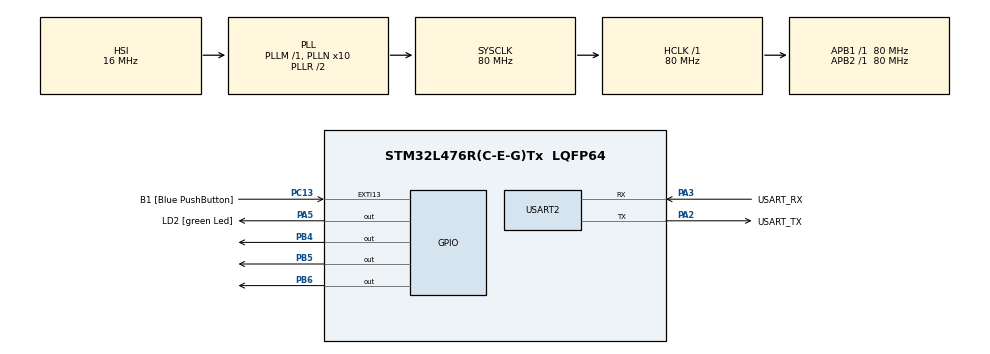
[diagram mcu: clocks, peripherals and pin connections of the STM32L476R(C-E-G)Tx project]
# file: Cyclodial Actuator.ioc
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Mcu.Family=STM32L4
Mcu.Name=STM32L476R(C-E-G)Tx
Mcu.Package=LQFP64
NVIC.PriorityGroup=NVIC_PRIORITYGROUP_4
PA13\ (JTMS-SWDIO).GPIO_Label=TMS
PA13\ (JTMS-SWDIO).Mode=Serial_Wire
PA13\ (JTMS-SWDIO).Signal=SYS_JTMS-SWDIO
PA14\ (JTCK-SWCLK).GPIO_Label=TCK
PA14\ (JTCK-SWCLK).Mode=Serial_Wire
PA14\ (JTCK-SWCLK).Signal=SYS_JTCK-SWCLK
PA2.GPIO_Label=USART_TX
PA2.GPIO_Mode=GPIO_MODE_AF_PP
PA2.GPIO_PuPd=GPIO_NOPULL
PA2.GPIO_Speed=GPIO_SPEED_FREQ_VERY_HIGH
PA2.Mode=Asynchronous
PA2.Signal=USART2_TX
PA3.GPIO_Label=USART_RX
PA3.GPIO_Mode=GPIO_MODE_AF_PP
PA3.GPIO_PuPd=GPIO_NOPULL
PA3.GPIO_Speed=GPIO_SPEED_FREQ_VERY_HIGH
PA3.Mode=Asynchronous
PA3.Signal=USART2_RX
PA5.GPIO_Label=LD2 [green Led]
PA5.GPIO_ModeDefaultOutputPP=GPIO_MODE_OUTPUT_PP
PA5.GPIO_PuPd=GPIO_NOPULL
PA5.GPIO_Speed=GPIO_SPEED_FREQ_LOW
PA5.Signal=GPIO_Output
PB3\ (JTDO-TRACESWO).GPIO_Label=SWO
PB3\ (JTDO-TRACESWO).Signal=SYS_JTDO-SWO
PB4\ (NJTRST).Signal=GPIO_Output
PB5.Signal=GPIO_Output
PB6.Signal=GPIO_Output
PC13.GPIO_Label=B1 [Blue PushButton]
PC13.GPIO_ModeDefaultEXTI=GPIO_MODE_IT_FALLING
PC13.GPIO_PuPd=GPIO_NOPULL
PC13.Signal=GPXTI13
PC14-OSC32_IN\ (PC14).Mode=LSE-External-Oscillator
PC14-OSC32_IN\ (PC14).Signal=RCC_OSC32_IN
PC15-OSC32_OUT\ (PC15).Mode=LSE-External-Oscillator
PC15-OSC32_OUT\ (PC15).Signal=RCC_OSC32_OUT
PH0-OSC_IN\ (PH0).Signal=RCC_OSC_IN
PH1-OSC_OUT\ (PH1).Signal=RCC_OSC_OUT
ProjectManager.HeapSize=0x200
ProjectManager.StackSize=0x400
ProjectManager.TargetToolchain=STM32CubeIDE
RCC.ADCFreq_Value=64000000
RCC.AHBFreq_Value=80000000
RCC.APB1Freq_Value=80000000
RCC.APB1TimFreq_Value=80000000
RCC.APB2Freq_Value=80000000
RCC.APB2TimFreq_Value=80000000
RCC.CortexFreq_Value=80000000
RCC.HCLKFreq_Value=80000000
RCC.HSE_VALUE=8000000
RCC.HSI_VALUE=16000000
RCC.MSI_VALUE=4000000
RCC.PLLN=10
RCC.PLLSourceVirtual=RCC_PLLSOURCE_HSI
RCC.PREFETCH_ENABLE=1
RCC.SYSCLKFreq_VALUE=80000000
RCC.SYSCLKSource=RCC_SYSCLKSOURCE_PLLCLK
RCC.USBFreq_Value=64000000
RCC.VCOOutputFreq_Value=160000000
USART2.VirtualMode-Asynchronous=VM_ASYNC
board=NUCLEO-L476RG

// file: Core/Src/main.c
/* USER CODE BEGIN Header */
/**
  ******************************************************************************
  * @file           : main.c
  * @brief          : Main program body
  ******************************************************************************
  * @attention
  *
  * Copyright (c) 2026 STMicroelectronics.
  * All rights reserved.
  *
  * This software is licensed under terms that can be found in the LICENSE file
  * in the root directory of this software component.
  * If no LICENSE file comes with this software, it is provided AS-IS.
  *
  ******************************************************************************
  */
/* USER CODE END Header */
#include "main.h"

/* USER CODE BEGIN Includes */
#include <string.h>
#include <stdio.h>
#include <stdlib.h>
#include <errno.h>

/* USER CODE END Includes */

/* USER CODE BEGIN PTD */
typedef enum { MOTOR_RELEASED, MOTOR_HOLD, MOTOR_JOG, MOTOR_LOAD } MotorMode;

/* USER CODE END PTD */

/* USER CODE BEGIN PD */
#define STEP_PULSE_WIDTH_US 10U
#define ENABLE_DIR_SETTLE_US 10000U
#define MAX_STEP_RATE_HZ 2000U
#define MAX_LOAD_RATE_HZ 50U
#define ACCEL_RATE_HZ_PER_S 1000U
#define START_RATE_HZ 25U
#define DEFAULT_TRAVEL_LIMIT 2000L
#define HARD_TRAVEL_LIMIT 20000L
#define MAX_OPERATION_MS 30000U
#define MOTION_LEASE_MS 750U
#define BUTTON_DEBOUNCE_MS 40U
#define STATUS_PERIOD_MS 100U
#define RX_LINE_SIZE 96U
#define TX_FRAME_SIZE 320U

/* USER CODE END PD */

UART_HandleTypeDef huart2;

/* USER CODE BEGIN PV */
static MotorMode motorMode = MOTOR_RELEASED;
static int32_t commandedPosition = 0;
static int32_t displayOrigin = 0;
static int32_t travelLimit = DEFAULT_TRAVEL_LIMIT;
static int8_t motionDirection = 1;
static uint32_t targetRateHz = 0U, currentRateHz = 0U;
static uint32_t operationRemaining = 0U;
static uint32_t operationStartedMs = 0U, operationDurationMs = 0U;
static uint32_t lastKeepMs = 0U, motionId = 0U, lastCommandId = 0U;
static uint32_t nextStepCycle = 0U, pulseStartedCycle = 0U;
static uint32_t lastRampMs = 0U, rampFraction = 0U;
static uint8_t stepPulseHigh = 0U;
static const char *stopReason = "BOOT";
static uint32_t buttonChangedMs = 0U;
static GPIO_PinState lastButtonReading = GPIO_PIN_SET;
static GPIO_PinState stableButtonState = GPIO_PIN_SET;
static char rxLine[RX_LINE_SIZE], txFrame[TX_FRAME_SIZE];
static uint16_t rxLength = 0U, txLength = 0U, txOffset = 0U;
static uint8_t rxDiscard = 0U, helloPending = 0U, statusPending = 1U;
static uint32_t lastStatusMs = 0U;

/* USER CODE END PV */

void SystemClock_Config(void);
static void MX_GPIO_Init(void);
static void MX_USART2_UART_Init(void);
/* USER CODE BEGIN PFP */
static void DWT_Delay_Init(void);
static uint8_t Motor_IsMoving(void);
static void Motor_Stop(const char *reason);
static void Motor_Release(void);
static void Motor_Update(void);
static void Button_Update(void);
static void Serial_Command(char *line);
static void Serial_ReceiveByte(uint8_t byte);
static void Serial_Update(void);

/* USER CODE END PFP */

/* USER CODE BEGIN 0 */
static void DWT_Delay_Init(void)
{
  CoreDebug->DEMCR |= CoreDebug_DEMCR_TRCENA_Msk;
  DWT->CYCCNT = 0U;
  DWT->CTRL |= DWT_CTRL_CYCCNTENA_Msk;
}

static uint8_t Motor_IsMoving(void)
{
  return motorMode == MOTOR_JOG || motorMode == MOTOR_LOAD;
}

static void Motor_Stop(const char *reason)
{
  /* Finish a pulse already high; no new rising edges after this call. */
  motorMode = MOTOR_HOLD;
  motionId = 0U;
  targetRateHz = currentRateHz = 0U;
  HAL_GPIO_WritePin(TB6600_ENA_GPIO_Port, TB6600_ENA_Pin, GPIO_PIN_RESET);
  HAL_GPIO_WritePin(LD2_GPIO_Port, LD2_Pin, GPIO_PIN_SET);
  stopReason = reason;
  statusPending = 1U;
}

static void Motor_Release(void)
{
  HAL_GPIO_WritePin(TB6600_PUL_GPIO_Port, TB6600_PUL_Pin, GPIO_PIN_RESET);
  HAL_GPIO_WritePin(TB6600_ENA_GPIO_Port, TB6600_ENA_Pin, GPIO_PIN_SET);
  HAL_GPIO_WritePin(LD2_GPIO_Port, LD2_Pin, GPIO_PIN_RESET);
  stepPulseHigh = 0U;
  motorMode = MOTOR_RELEASED;
  motionId = 0U;
  targetRateHz = currentRateHz = 0U;
  stopReason = "RELEASED";
  statusPending = 1U;
  /* No changes to travel tally or display reference. */
}

static void Motor_Start(uint32_t id, int32_t direction, uint32_t rate,
                        uint32_t pulses, uint32_t duration, MotorMode mode)
{
  if (id <= lastCommandId)
  {
    stopReason = "STALE_ID"; statusPending = 1U; return;
  }
  /* Consume a valid fresh ID even when rejecting: never queue a late start. */
  lastCommandId = id;
  if (Motor_IsMoving() || stepPulseHigh || stableButtonState == GPIO_PIN_RESET)
  {
    stopReason = "BUSY_OR_BUTTON"; statusPending = 1U; return;
  }
  if ((direction > 0 && commandedPosition >= travelLimit) ||
      (direction < 0 && commandedPosition <= -travelLimit))
  {
    stopReason = "TRAVEL_LIMIT"; statusPending = 1U; return;
  }
  motionDirection = (int8_t)direction;
  targetRateHz = rate;
  currentRateHz = rate < START_RATE_HZ ? rate : START_RATE_HZ;
  operationRemaining = pulses;
  operationStartedMs = lastKeepMs = lastRampMs = HAL_GetTick();
  operationDurationMs = duration;
  rampFraction = 0U;
  motionId = id;
  HAL_GPIO_WritePin(TB6600_DIR_GPIO_Port, TB6600_DIR_Pin,
                   direction > 0 ? GPIO_PIN_SET : GPIO_PIN_RESET);
  HAL_GPIO_WritePin(TB6600_ENA_GPIO_Port, TB6600_ENA_Pin, GPIO_PIN_RESET);
  HAL_GPIO_WritePin(LD2_GPIO_Port, LD2_Pin, GPIO_PIN_SET);
  nextStepCycle = DWT->CYCCNT + (SystemCoreClock / 1000000U) * ENABLE_DIR_SETTLE_US;
  motorMode = mode;
  stopReason = "STARTED";
  statusPending = 1U;
}

static void Motor_Update(void)
{
  const uint32_t nowMs = HAL_GetTick();
  if (Motor_IsMoving())
  {
    if ((uint32_t)(nowMs - lastKeepMs) >= MOTION_LEASE_MS)
      Motor_Stop("LEASE_EXPIRED");
    else if ((uint32_t)(nowMs - operationStartedMs) >= operationDurationMs)
      Motor_Stop("TIME_LIMIT");
  }
  const uint32_t nowCycle = DWT->CYCCNT;
  if (stepPulseHigh)
  {
    if ((uint32_t)(nowCycle - pulseStartedCycle) >=
        (SystemCoreClock / 1000000U) * STEP_PULSE_WIDTH_US)
    {
      HAL_GPIO_WritePin(TB6600_PUL_GPIO_Port, TB6600_PUL_Pin, GPIO_PIN_RESET);
      stepPulseHigh = 0U;
      if (Motor_IsMoving())
      {
        if (operationRemaining == 0U) Motor_Stop("PULSE_LIMIT");
        else nextStepCycle = DWT->CYCCNT + SystemCoreClock / currentRateHz;
      }
    }
    return;
  }
  if (!Motor_IsMoving()) return;
  const uint32_t elapsed = nowMs - lastRampMs;
  if (elapsed != 0U)
  {
    lastRampMs = nowMs;
    if (currentRateHz < targetRateHz)
    {
      /* Clamp service delay: no acceleration leap after a debugger pause. */
      rampFraction += (elapsed > 10U ? 10U : elapsed) * ACCEL_RATE_HZ_PER_S;
      const uint32_t increment = rampFraction / 1000U;
      rampFraction %= 1000U;
      const uint32_t remaining = targetRateHz - currentRateHz;
      currentRateHz += increment < remaining ? increment : remaining;
    }
  }
  if ((int32_t)(nowCycle - nextStepCycle) >= 0)
  {
    const int32_t nextPosition = commandedPosition + motionDirection;
    if (nextPosition > travelLimit || nextPosition < -travelLimit)
    {
      Motor_Stop("TRAVEL_LIMIT"); return;
    }
    HAL_GPIO_WritePin(TB6600_PUL_GPIO_Port, TB6600_PUL_Pin, GPIO_PIN_SET);
    pulseStartedCycle = DWT->CYCCNT;
    stepPulseHigh = 1U;
    commandedPosition = nextPosition;
    --operationRemaining;
  }
}

static void Button_Update(void)
{
  const GPIO_PinState reading = HAL_GPIO_ReadPin(B1_GPIO_Port, B1_Pin);
  const uint32_t nowMs = HAL_GetTick();
  if (reading != lastButtonReading)
  {
    lastButtonReading = reading; buttonChangedMs = nowMs;
  }
  if ((uint32_t)(nowMs - buttonChangedMs) >= BUTTON_DEBOUNCE_MS &&
      reading != stableButtonState)
  {
    stableButtonState = reading;
    if (reading == GPIO_PIN_RESET)
    {
      Motor_Stop("BUTTON_STOP");
      if (lastCommandId < 2147483647U) ++lastCommandId;
    }
  }
}

static uint8_t Parse_Number(const char *text, int32_t *value)
{
  char *end;
  if (*text == '\0') return 0U;
  errno = 0;
  const long result = strtol(text, &end, 10);
  if (errno != 0 || *end != '\0' || result < -2147483647L || result > 2147483647L)
    return 0U;
  *value = (int32_t)result;
  return 1U;
}

static void Serial_BadCommand(void)
{
  if (Motor_IsMoving()) Motor_Stop("BAD_COMMAND");
  else { stopReason = "BAD_COMMAND"; statusPending = 1U; }
}

static void Serial_Command(char *line)
{
  char *tokens[7];
  unsigned count = 0U;
  char *token = strtok(line, " \t");
  while (token != NULL && count < 7U)
  {
    tokens[count++] = token; token = strtok(NULL, " \t");
  }
  if (count == 0U) return;
  if (token != NULL) { Serial_BadCommand(); return; }
  if (count == 1U && strcmp(tokens[0], "HELLO") == 0)
  {
    if (Motor_IsMoving()) Motor_Stop("CONNECTED");
    helloPending = statusPending = 1U; return;
  }
  if (count == 1U && strcmp(tokens[0], "STATUS") == 0)
  {
    statusPending = 1U; return;
  }
  int32_t values[6];
  for (unsigned i = 1U; i < count; ++i)
    if (!Parse_Number(tokens[i], &values[i - 1U])) { Serial_BadCommand(); return; }
  if (count < 2U || values[0] <= 0) { Serial_BadCommand(); return; }
  const uint32_t id = (uint32_t)values[0];
  if (count == 2U && strcmp(tokens[0], "KEEP") == 0)
  {
    /* Heartbeat cannot start/restart motion or extend operation budgets. */
    if (Motor_IsMoving() && id == motionId &&
        (uint32_t)(HAL_GetTick() - lastKeepMs) < MOTION_LEASE_MS)
      lastKeepMs = HAL_GetTick();
    return;
  }
  if (count == 2U && strcmp(tokens[0], "STOP") == 0)
  {
    if (id > lastCommandId) lastCommandId = id;
    Motor_Stop("STOPPED"); return;
  }
  if (count == 6U && (strcmp(tokens[0], "RUN") == 0 || strcmp(tokens[0], "LOAD") == 0))
  {
    const MotorMode mode = strcmp(tokens[0], "LOAD") == 0 ? MOTOR_LOAD : MOTOR_JOG;
    if ((values[1] != 1 && values[1] != -1) || values[2] < 1 ||
        values[2] > (int32_t)(mode == MOTOR_LOAD ? MAX_LOAD_RATE_HZ : MAX_STEP_RATE_HZ) ||
        values[3] < 1 || values[3] > HARD_TRAVEL_LIMIT || values[4] < 100 ||
        values[4] > (int32_t)MAX_OPERATION_MS)
    { Serial_BadCommand(); return; }
    Motor_Start(id, values[1], (uint32_t)values[2], (uint32_t)values[3],
                (uint32_t)values[4], mode);
    return;
  }
  if (!((count == 2U && (strcmp(tokens[0], "RELEASE") == 0 || strcmp(tokens[0], "ZERO") == 0)) ||
        (count == 3U && strcmp(tokens[0], "LIMIT") == 0)))
  { Serial_BadCommand(); return; }
  if (id <= lastCommandId)
  { stopReason = "STALE_ID"; statusPending = 1U; return; }
  if (count == 2U && strcmp(tokens[0], "RELEASE") == 0)
  {
    lastCommandId = id; Motor_Release(); return;
  }
  if (count == 2U && strcmp(tokens[0], "ZERO") == 0 && !Motor_IsMoving())
  {
    lastCommandId = id; displayOrigin = commandedPosition;
    stopReason = "REFERENCE_SET"; statusPending = 1U; return;
  }
  if (count == 3U && strcmp(tokens[0], "LIMIT") == 0 && !Motor_IsMoving() &&
      values[1] >= 1 && values[1] <= HARD_TRAVEL_LIMIT &&
      commandedPosition <= values[1] && commandedPosition >= -values[1])
  {
    lastCommandId = id; travelLimit = values[1];
    stopReason = "CONFIGURED"; statusPending = 1U; return;
  }
  Serial_BadCommand();
}

static void Serial_ReceiveByte(uint8_t byte)
{
  if (byte == '\r') return;
  if (byte == '\n')
  {
    if (!rxDiscard)
    {
      rxLine[rxLength] = '\0'; Serial_Command(rxLine);
    }
    rxLength = 0U; rxDiscard = 0U; return;
  }
  if (rxDiscard) return;
  if (byte < 32U || byte > 126U || rxLength >= RX_LINE_SIZE - 1U)
  {
    rxDiscard = 1U; rxLength = 0U; Serial_BadCommand(); return;
  }
  rxLine[rxLength++] = (char)byte;
}

static void Serial_Update(void)
{
  /* Poll ready bytes only: no blocking HAL receive/transmit or IRQ changes. */
  if (__HAL_UART_GET_FLAG(&huart2, UART_FLAG_ORE) ||
      __HAL_UART_GET_FLAG(&huart2, UART_FLAG_FE) ||
      __HAL_UART_GET_FLAG(&huart2, UART_FLAG_NE))
  {
    __HAL_UART_CLEAR_FLAG(&huart2, UART_CLEAR_OREF | UART_CLEAR_FEF | UART_CLEAR_NEF);
    rxDiscard = 1U; rxLength = 0U;
    if (Motor_IsMoving()) Motor_Stop("SERIAL_ERROR");
  }
  for (unsigned i = 0; i < 16U && __HAL_UART_GET_FLAG(&huart2, UART_FLAG_RXNE); ++i)
    Serial_ReceiveByte((uint8_t)(huart2.Instance->RDR & 0xffU));
  /* Limit formatting work to low-pulse state; telemetry never blocks stepping. */
  if (txOffset == txLength && !stepPulseHigh)
  {
    const uint32_t nowMs = HAL_GetTick();
    if (helloPending)
    {
      txLength = (uint16_t)snprintf(txFrame, sizeof(txFrame),
        "{\"type\":\"hello\",\"protocol\":3,\"firmware\":\"usb-panel-3\"}\n");
      txOffset = 0U; helloPending = 0U;
    }
    else if (statusPending || (uint32_t)(nowMs - lastStatusMs) >= STATUS_PERIOD_MS)
    {
      const char *mode = motorMode == MOTOR_JOG ? "JOG" : motorMode == MOTOR_LOAD ?
                        "LOAD" : motorMode == MOTOR_HOLD ? "HOLD" : "RELEASED";
      txLength = (uint16_t)snprintf(txFrame, sizeof(txFrame),
        "{\"type\":\"status\",\"protocol\":3,\"mode\":\"%s\",\"position\":%ld,\"origin\":%ld,\"limit\":%ld,\"rate\":%lu,\"current\":%lu,\"remaining\":%lu,\"motion\":%lu,\"last\":%lu,\"reason\":\"%s\"}\n",
        mode, (long)commandedPosition, (long)displayOrigin, (long)travelLimit,
        (unsigned long)targetRateHz, (unsigned long)currentRateHz,
        (unsigned long)operationRemaining, (unsigned long)motionId,
        (unsigned long)lastCommandId, stopReason);
      txOffset = 0U; lastStatusMs = nowMs; statusPending = 0U;
    }
  }
  if (txOffset < txLength && __HAL_UART_GET_FLAG(&huart2, UART_FLAG_TXE))
    huart2.Instance->TDR = (uint8_t)txFrame[txOffset++];
}

/* USER CODE END 0 */

int main(void)
{

  /* MCU Configuration--------------------------------------------------------*/

  /* Reset of all peripherals, Initializes the Flash interface and the Systick. */
  HAL_Init();

  /* Configure the system clock */
  SystemClock_Config();

  /* Initialize all configured peripherals */
  MX_GPIO_Init();
  MX_USART2_UART_Init();
  /* USER CODE BEGIN 2 */
DWT_Delay_Init();
  HAL_GPIO_WritePin(TB6600_DIR_GPIO_Port, TB6600_DIR_Pin, GPIO_PIN_SET);
  Motor_Release();
  stopReason = "BOOT";
  lastButtonReading = HAL_GPIO_ReadPin(B1_GPIO_Port, B1_Pin);
  stableButtonState = lastButtonReading;

/* USER CODE END 2 */

  /* Infinite loop */
  /* USER CODE BEGIN WHILE */
  while (1)
  {
    Button_Update();
    Motor_Update();
    Serial_Update();
    /* USER CODE END WHILE */

  }
}

void SystemClock_Config(void)
{
  RCC_OscInitTypeDef RCC_OscInitStruct = {0};
  RCC_ClkInitTypeDef RCC_ClkInitStruct = {0};

  /** Configure the main internal regulator output voltage
  */
  if (HAL_PWREx_ControlVoltageScaling(PWR_REGULATOR_VOLTAGE_SCALE1) != HAL_OK)
  {
    Error_Handler();
  }

  /** Initializes the RCC Oscillators according to the specified parameters
  * in the RCC_OscInitTypeDef structure.
  */
  RCC_OscInitStruct.OscillatorType = RCC_OSCILLATORTYPE_HSI;
  RCC_OscInitStruct.HSIState = RCC_HSI_ON;
  RCC_OscInitStruct.HSICalibrationValue = RCC_HSICALIBRATION_DEFAULT;
  RCC_OscInitStruct.PLL.PLLState = RCC_PLL_ON;
  RCC_OscInitStruct.PLL.PLLSource = RCC_PLLSOURCE_HSI;
  RCC_OscInitStruct.PLL.PLLM = 1;
  RCC_OscInitStruct.PLL.PLLN = 10;
  RCC_OscInitStruct.PLL.PLLP = RCC_PLLP_DIV7;
  RCC_OscInitStruct.PLL.PLLQ = RCC_PLLQ_DIV2;
  RCC_OscInitStruct.PLL.PLLR = RCC_PLLR_DIV2;
  if (HAL_RCC_OscConfig(&RCC_OscInitStruct) != HAL_OK)
  {
    Error_Handler();
  }

  /** Initializes the CPU, AHB and APB buses clocks
  */
  RCC_ClkInitStruct.ClockType = RCC_CLOCKTYPE_HCLK|RCC_CLOCKTYPE_SYSCLK
                              |RCC_CLOCKTYPE_PCLK1|RCC_CLOCKTYPE_PCLK2;
  RCC_ClkInitStruct.SYSCLKSource = RCC_SYSCLKSOURCE_PLLCLK;
  RCC_ClkInitStruct.AHBCLKDivider = RCC_SYSCLK_DIV1;
  RCC_ClkInitStruct.APB1CLKDivider = RCC_HCLK_DIV1;
  RCC_ClkInitStruct.APB2CLKDivider = RCC_HCLK_DIV1;

  if (HAL_RCC_ClockConfig(&RCC_ClkInitStruct, FLASH_LATENCY_4) != HAL_OK)
  {
    Error_Handler();
  }
}

static void MX_USART2_UART_Init(void)
{

  huart2.Instance = USART2;
  huart2.Init.BaudRate = 115200;
  huart2.Init.WordLength = UART_WORDLENGTH_8B;
  huart2.Init.StopBits = UART_STOPBITS_1;
  huart2.Init.Parity = UART_PARITY_NONE;
  huart2.Init.Mode = UART_MODE_TX_RX;
  huart2.Init.HwFlowCtl = UART_HWCONTROL_NONE;
  huart2.Init.OverSampling = UART_OVERSAMPLING_16;
  huart2.Init.OneBitSampling = UART_ONE_BIT_SAMPLE_DISABLE;
  huart2.AdvancedInit.AdvFeatureInit = UART_ADVFEATURE_NO_INIT;
  if (HAL_UART_Init(&huart2) != HAL_OK)
  {
    Error_Handler();
  }

}

static void MX_GPIO_Init(void)
{
  GPIO_InitTypeDef GPIO_InitStruct = {0};

  /* GPIO Ports Clock Enable */
  __HAL_RCC_GPIOC_CLK_ENABLE();
  __HAL_RCC_GPIOH_CLK_ENABLE();
  __HAL_RCC_GPIOA_CLK_ENABLE();
  __HAL_RCC_GPIOB_CLK_ENABLE();

  /*Configure GPIO pin Output Level */
  HAL_GPIO_WritePin(LD2_GPIO_Port, LD2_Pin, GPIO_PIN_RESET);

  /*Configure GPIO pin Output Level */
  HAL_GPIO_WritePin(GPIOB, GPIO_PIN_4|GPIO_PIN_5|GPIO_PIN_6, GPIO_PIN_RESET);

  /*Configure GPIO pin : B1_Pin */
  GPIO_InitStruct.Pin = B1_Pin;
  GPIO_InitStruct.Mode = GPIO_MODE_IT_FALLING;
  GPIO_InitStruct.Pull = GPIO_NOPULL;
  HAL_GPIO_Init(B1_GPIO_Port, &GPIO_InitStruct);

  /*Configure GPIO pin : LD2_Pin */
  GPIO_InitStruct.Pin = LD2_Pin;
  GPIO_InitStruct.Mode = GPIO_MODE_OUTPUT_PP;
  GPIO_InitStruct.Pull = GPIO_NOPULL;
  GPIO_InitStruct.Speed = GPIO_SPEED_FREQ_LOW;
  HAL_GPIO_Init(LD2_GPIO_Port, &GPIO_InitStruct);

  /*Configure GPIO pins : PB4 PB5 PB6 */
  GPIO_InitStruct.Pin = GPIO_PIN_4|GPIO_PIN_5|GPIO_PIN_6;
  GPIO_InitStruct.Mode = GPIO_MODE_OUTPUT_PP;
  GPIO_InitStruct.Pull = GPIO_NOPULL;
  GPIO_InitStruct.Speed = GPIO_SPEED_FREQ_LOW;
  HAL_GPIO_Init(GPIOB, &GPIO_InitStruct);

/* USER CODE BEGIN MX_GPIO_Init_2 */
  /* TB6600 step, direction, and enable outputs on Arduino D5, D4, and D10. */
  HAL_GPIO_WritePin(GPIOB, TB6600_PUL_Pin|TB6600_DIR_Pin|TB6600_ENA_Pin,
                    GPIO_PIN_RESET);

  GPIO_InitStruct.Pin = TB6600_PUL_Pin|TB6600_DIR_Pin|TB6600_ENA_Pin;
  GPIO_InitStruct.Mode = GPIO_MODE_OUTPUT_PP;
  GPIO_InitStruct.Pull = GPIO_NOPULL;
  GPIO_InitStruct.Speed = GPIO_SPEED_FREQ_HIGH;
  HAL_GPIO_Init(GPIOB, &GPIO_InitStruct);
/* USER CODE END MX_GPIO_Init_2 */
}

void Error_Handler(void)
{
  __disable_irq();
  while (1)
  {
  }
}
